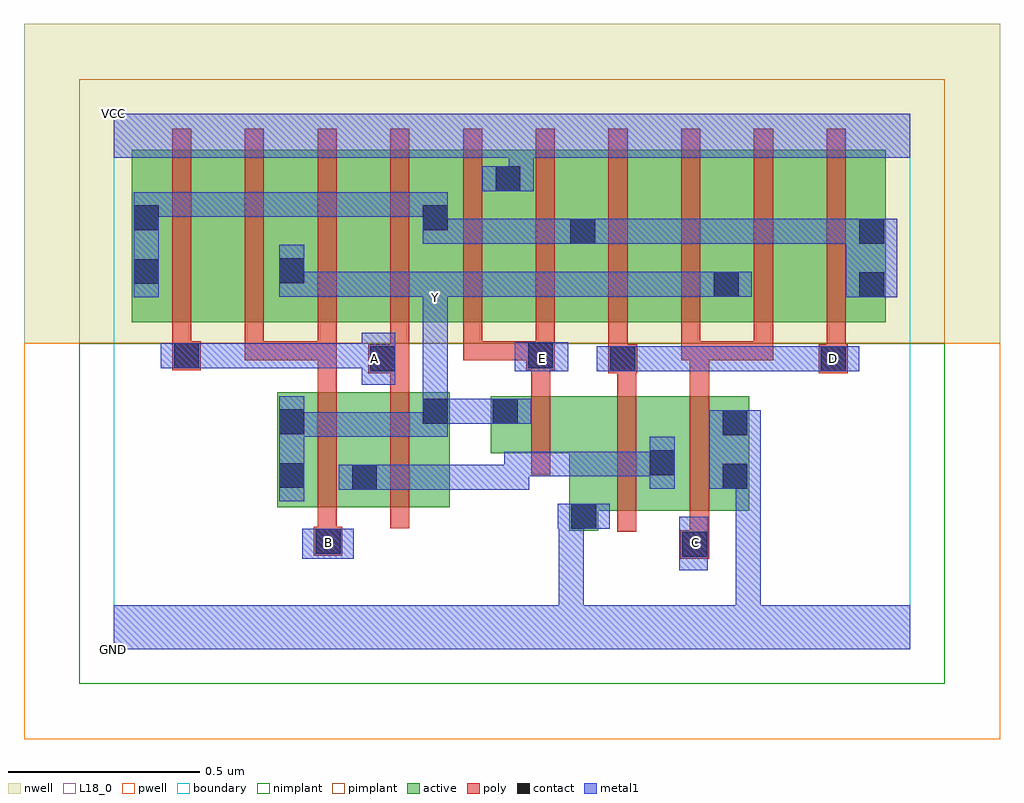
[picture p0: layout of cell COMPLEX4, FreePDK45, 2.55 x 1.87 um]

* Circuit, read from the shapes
.subckt COMPLEX4 A B C D E GND VCC Y
M1 n1 B Y VSUBS nfet w=0.3u l=0.05u
M2 Y A n1 VSUBS nfet w=0.3u l=0.05u
M3 GND E Y VSUBS nfet w=0.15u l=0.05u
M4 n1 D GND VSUBS nfet w=0.3u l=0.05u
M5 GND C n1 VSUBS nfet w=0.3u l=0.05u
M6 n2 A n3 n4 pfet w=0.45u l=0.05u
M7 Y B n2 n4 pfet w=0.45u l=0.05u
M8 n5 B Y n4 pfet w=0.45u l=0.05u
M9 n3 A n5 n4 pfet w=0.45u l=0.05u
M10 VCC E n3 n4 pfet w=0.45u l=0.05u m=2
M11 n6 D n3 n4 pfet w=0.45u l=0.05u
M12 Y C n6 n4 pfet w=0.45u l=0.05u
M13 n7 C Y n4 pfet w=0.45u l=0.05u
M14 n3 D n7 n4 pfet w=0.45u l=0.05u
.ends

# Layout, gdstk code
import gdstk
lib = gdstk.Library(unit=1e-6, precision=1e-09)
def R(c, l, rs):  # rectangles x0, y0, x1, y1
    for r in rs: c.add(gdstk.rectangle(r[:2], r[2:], *l))
def A(c, l, x, y, w, h, nx, ny, dx, dy):  # array of equal rectangles
    R(c, l, [(x+i*dx, y+j*dy, x+i*dx+w, y+j*dy+h) for i in range(nx) for j in range(ny)])
active = (1, 0)
pwell = (2, 0)
nwell = (3, 0)
nimplant = (4, 0)
pimplant = (5, 0)
poly = (9, 0)
contact = (10, 0)
metal1 = (11, 0)
L18_0 = (18, 0)
boundary = (235, 0)

complex4 = lib.new_cell('COMPLEX4')
R(complex4, active, [(1.19,0.31,1.265,0.547), (1.19,0.362,1.47,0.662), (1.395,0.362,1.66,0.662), (0.427,0.372,0.692,0.672), (0.617,0.372,0.877,0.672), (0.802,0.382,0.877,0.672), (0.427,0.407,0.502,0.672), (0.617,0.407,0.692,0.547), (1.395,0.407,1.47,0.525), (1.585,0.407,1.66,0.662), (0.985,0.512,1.265,0.662), (0.985,0.532,1.06,0.662), (0.047,0.855,0.272,1.305), (0.047,0.855,0.152,1.2), (0.272,0.855,0.502,1.305), (0.427,0.855,0.652,1.305), (0.427,0.855,0.502,1.07), (0.652,0.855,0.877,1.305), (0.802,0.855,1.067,1.305), (0.992,0.855,1.262,1.305), (1.187,0.855,1.412,1.305), (1.412,0.855,1.637,1.305), (1.562,0.855,1.792,1.305), (1.562,0.855,1.637,1.07), (1.792,0.855,2.017,1.305), (1.942,0.855,2.017,1.2), (0.802,0.857,0.877,1.2), (0.992,0.857,1.067,1.305), (1.187,0.857,1.262,1.2)])
R(complex4, pwell, [(-0.235,-0.235,2.315,0.8)])
R(complex4, nwell, [(-0.235,0.8,2.315,1.635)])
R(complex4, nimplant, [(-0.09,-0.09,2.17,0.8)])
R(complex4, pimplant, [(-0.09,0.8,2.17,1.49)])
A(complex4, poly, 0.722, 0.747, 0.05, 0.103, 3, 1, 0.57, 0)
A(complex4, poly, 0.152, 0.755, 0.05, 0.095, 3, 1, 0.19, 0)
A(complex4, poly, 0.152, 0.8, 0.05, 0.56, 10, 1, 0.19, 0)
R(complex4, poly, [(1.48,0.237,1.555,0.312), (0.522,0.245,0.597,0.32), (1.505,0.262,1.555,0.357), (0.532,0.27,0.582,0.367), (1.315,0.307,1.365,0.717), (1.505,0.307,1.555,0.717), (0.532,0.317,0.582,0.727), (0.722,0.317,0.772,0.727), (1.09,0.457,1.14,0.717), (1.09,0.667,1.14,0.78), (1.315,0.667,1.365,0.772), (1.505,0.667,1.555,0.805), (0.532,0.677,0.582,0.805), (0.722,0.677,0.772,0.772), (0.665,0.722,0.772,0.797), (1.292,0.722,1.367,0.797), (1.842,0.722,1.917,0.797), (0.152,0.73,0.227,0.805), (1.077,0.73,1.152,0.805), (0.342,0.755,0.392,0.805), (0.342,0.755,0.392,0.805), (0.342,0.755,0.392,0.805), (0.342,0.755,0.582,0.805), (0.532,0.755,0.582,0.805), (0.912,0.755,0.962,0.85), (0.912,0.755,0.962,0.805), (0.912,0.755,1.127,0.805), (1.077,0.755,1.127,0.805), (1.077,0.755,1.127,0.805), (1.102,0.755,1.152,0.85), (1.482,0.755,1.532,0.85), (1.482,0.755,1.555,0.805), (1.505,0.755,1.722,0.805), (1.505,0.755,1.555,0.805), (1.505,0.755,1.555,0.805), (1.672,0.755,1.722,0.85), (1.672,0.755,1.722,0.805)])
R(complex4, contact, [(1.485,0.242,1.55,0.307), (0.527,0.25,0.592,0.315), (1.195,0.315,1.26,0.38), (0.622,0.417,0.687,0.482), (1.59,0.42,1.655,0.485), (0.432,0.422,0.497,0.487), (1.4,0.455,1.465,0.52), (1.59,0.56,1.655,0.625), (0.432,0.562,0.497,0.627), (0.807,0.59,0.872,0.655), (0.99,0.59,1.055,0.655), (0.67,0.727,0.735,0.792), (1.297,0.727,1.362,0.792), (1.847,0.727,1.912,0.792), (0.157,0.735,0.222,0.8), (1.082,0.735,1.147,0.8), (1.947,0.92,2.012,0.985), (1.567,0.922,1.632,0.987), (0.052,0.955,0.117,1.02), (0.432,0.957,0.497,1.022), (1.192,1.06,1.257,1.125), (1.947,1.06,2.012,1.125), (0.052,1.095,0.117,1.16), (0.807,1.095,0.872,1.16), (0.997,1.197,1.062,1.262)])
R(complex4, metal1, [(0,0,2.08,0.115), (1.162,0.05,1.227,0.115), (1.162,0.05,1.227,0.115), (1.162,0.05,1.227,0.115), (1.162,0.05,1.227,0.115), (1.162,0.05,1.227,0.38), (1.625,0.05,1.69,0.115), (1.625,0.05,1.69,0.115), (1.625,0.05,1.69,0.485), (1.477,0.207,1.552,0.347), (0.492,0.237,0.627,0.315), (1.16,0.315,1.295,0.38), (1.162,0.315,1.227,0.38), (1.162,0.315,1.227,0.38), (0.432,0.387,0.497,0.662), (0.587,0.417,0.722,0.482), (0.657,0.417,0.722,0.482), (0.657,0.417,0.722,0.482), (0.657,0.417,0.882,0.482), (0.817,0.417,0.882,0.482), (0.817,0.417,0.882,0.482), (0.817,0.417,0.882,0.482), (0.817,0.417,1.085,0.482), (1.02,0.417,1.085,0.517), (1.4,0.42,1.465,0.555), (1.555,0.42,1.69,0.625), (1.625,0.42,1.69,0.485), (1.625,0.42,1.69,0.485), (1.625,0.42,1.69,0.485), (1.625,0.42,1.69,0.485), (1.02,0.452,1.085,0.517), (1.02,0.452,1.085,0.517), (1.02,0.452,1.227,0.517), (1.162,0.452,1.227,0.517), (1.162,0.452,1.227,0.517), (1.162,0.452,1.227,0.517), (1.162,0.452,1.227,0.517), (1.162,0.452,1.227,0.517), (1.162,0.452,1.465,0.517), (0.432,0.555,0.532,0.62), (0.467,0.555,0.532,0.62), (0.467,0.555,0.735,0.62), (0.67,0.555,0.735,0.62), (0.67,0.555,0.735,0.62), (0.67,0.555,0.735,0.62), (0.67,0.555,0.872,0.62), (0.807,0.555,0.872,0.69), (0.807,0.59,0.872,0.655), (0.807,0.59,0.872,0.655), (0.807,0.59,1.02,0.655), (0.955,0.59,1.09,0.655), (0.807,0.625,0.872,0.917), (0.647,0.692,0.735,0.827), (1.047,0.727,1.187,0.802), (1.262,0.727,1.397,0.792), (1.332,0.727,1.43,0.792), (1.365,0.727,1.43,0.792), (1.365,0.727,1.597,0.792), (1.532,0.727,1.597,0.792), (1.532,0.727,1.597,0.792), (1.532,0.727,1.597,0.792), (1.532,0.727,1.74,0.792), (1.675,0.727,1.74,0.792), (1.675,0.727,1.74,0.792), (1.675,0.727,1.74,0.792), (1.675,0.727,1.877,0.792), (1.812,0.727,1.947,0.792), (0.122,0.735,0.257,0.8), (0.192,0.735,0.257,0.8), (0.192,0.735,0.257,0.8), (0.192,0.735,0.395,0.8), (0.33,0.735,0.395,0.8), (0.33,0.735,0.395,0.8), (0.33,0.735,0.395,0.8), (0.33,0.735,0.532,0.8), (0.467,0.735,0.532,0.8), (0.467,0.735,0.712,0.8), (0.647,0.735,0.712,0.8), (0.647,0.735,0.712,0.8), (0.807,0.852,0.872,0.987), (0.052,0.92,0.117,1.195), (1.912,0.92,2.047,1.125), (0.432,0.922,0.497,1.057), (0.432,0.922,0.532,0.987), (0.467,0.922,0.532,0.987), (0.467,0.922,0.712,0.987), (0.647,0.922,0.712,0.987), (0.647,0.922,0.712,0.987), (0.647,0.922,0.712,0.987), (0.647,0.922,0.872,0.987), (0.807,0.922,0.872,0.987), (0.807,0.922,0.872,0.987), (0.807,0.922,0.872,0.987), (0.807,0.922,0.872,0.987), (0.807,0.922,1.085,0.987), (1.02,0.922,1.085,0.987), (1.02,0.922,1.085,0.987), (1.02,0.922,1.085,0.987), (1.02,0.922,1.292,0.987), (1.227,0.922,1.292,0.987), (1.227,0.922,1.292,0.987), (1.227,0.922,1.292,0.987), (1.227,0.922,1.43,0.987), (1.365,0.922,1.43,0.987), (1.365,0.922,1.597,0.987), (1.532,0.922,1.597,0.987), (1.532,0.922,1.597,0.987), (1.532,0.922,1.667,0.987), (0.807,1.06,0.872,1.125), (0.807,1.06,0.872,1.125), (0.807,1.06,0.872,1.195), (0.807,1.06,1.085,1.125), (1.02,1.06,1.085,1.125), (1.02,1.06,1.085,1.125), (1.02,1.06,1.085,1.125), (1.02,1.06,1.222,1.125), (1.157,1.06,1.292,1.125), (1.227,1.06,1.292,1.125), (1.227,1.06,1.292,1.125), (1.227,1.06,1.46,1.125), (1.395,1.06,1.46,1.125), (1.395,1.06,1.597,1.125), (1.532,1.06,1.597,1.125), (1.532,1.06,1.597,1.125), (1.532,1.06,1.597,1.125), (1.532,1.06,1.735,1.125), (1.67,1.06,1.735,1.125), (1.67,1.06,1.805,1.125), (1.74,1.06,1.805,1.125), (1.74,1.06,1.805,1.125), (1.74,1.06,1.805,1.125), (1.74,1.06,1.977,1.125), (1.912,1.06,1.977,1.125), (1.912,1.06,1.977,1.125), (0.052,1.13,0.117,1.195), (0.052,1.13,0.117,1.195), (0.052,1.13,0.257,1.195), (0.192,1.13,0.257,1.195), (0.192,1.13,0.257,1.195), (0.192,1.13,0.257,1.195), (0.192,1.13,0.395,1.195), (0.33,1.13,0.395,1.195), (0.33,1.13,0.395,1.195), (0.33,1.13,0.395,1.195), (0.33,1.13,0.575,1.195), (0.51,1.13,0.575,1.195), (0.51,1.13,0.712,1.195), (0.647,1.13,0.712,1.195), (0.647,1.13,0.712,1.195), (0.647,1.13,0.712,1.195), (0.647,1.13,0.872,1.195), (0.962,1.197,1.097,1.262), (1.032,1.197,1.097,1.35), (0,1.285,2.08,1.4)])
R(complex4, L18_0, [(0,0,2.08,0.115), (1.162,0.05,1.227,0.115), (1.162,0.05,1.227,0.115), (1.162,0.05,1.227,0.115), (1.162,0.05,1.227,0.115), (1.162,0.05,1.227,0.38), (1.625,0.05,1.69,0.115), (1.625,0.05,1.69,0.115), (1.625,0.05,1.69,0.485), (1.477,0.207,1.552,0.347), (0.492,0.237,0.627,0.315), (0.527,0.247,0.592,0.312), (1.487,0.247,1.552,0.312), (1.16,0.315,1.295,0.38), (1.162,0.315,1.227,0.38), (1.162,0.315,1.227,0.38), (0.432,0.387,0.497,0.662), (1.555,0.42,1.69,0.625), (1.625,0.42,1.69,0.485), (1.625,0.42,1.69,0.485), (1.625,0.42,1.69,0.485), (1.625,0.42,1.69,0.485), (0.432,0.555,0.532,0.62), (0.467,0.555,0.532,0.62), (0.467,0.555,0.735,0.62), (0.67,0.555,0.735,0.62), (0.67,0.555,0.735,0.62), (0.67,0.555,0.735,0.62), (0.67,0.555,0.872,0.62), (0.807,0.555,0.872,0.69), (0.807,0.59,0.872,0.655), (0.807,0.59,0.872,0.655), (0.807,0.59,1.02,0.655), (0.955,0.59,1.09,0.655), (0.807,0.625,0.872,0.917), (0.647,0.692,0.735,0.827), (0.647,0.727,0.712,0.792), (1.047,0.727,1.187,0.802), (1.087,0.727,1.152,0.792), (1.262,0.727,1.397,0.792), (1.332,0.727,1.43,0.792), (1.365,0.727,1.43,0.792), (1.365,0.727,1.597,0.792), (1.532,0.727,1.597,0.792), (1.532,0.727,1.597,0.792), (1.532,0.727,1.597,0.792), (1.532,0.727,1.74,0.792), (1.675,0.727,1.74,0.792), (1.675,0.727,1.74,0.792), (1.675,0.727,1.74,0.792), (1.675,0.727,1.877,0.792), (1.812,0.727,1.947,0.792), (1.847,0.727,1.912,0.792), (0.122,0.735,0.257,0.8), (0.192,0.735,0.257,0.8), (0.192,0.735,0.257,0.8), (0.192,0.735,0.395,0.8), (0.33,0.735,0.395,0.8), (0.33,0.735,0.395,0.8), (0.33,0.735,0.395,0.8), (0.33,0.735,0.532,0.8), (0.467,0.735,0.532,0.8), (0.467,0.735,0.712,0.8), (0.647,0.735,0.712,0.8), (0.647,0.735,0.712,0.8), (0.807,0.852,0.872,0.987), (0.807,0.887,0.872,0.952), (0.432,0.922,0.497,1.057), (0.432,0.922,0.532,0.987), (0.467,0.922,0.532,0.987), (0.467,0.922,0.712,0.987), (0.647,0.922,0.712,0.987), (0.647,0.922,0.712,0.987), (0.647,0.922,0.712,0.987), (0.647,0.922,0.872,0.987), (0.807,0.922,0.872,0.987), (0.807,0.922,0.872,0.987), (0.807,0.922,0.872,0.987), (0.807,0.922,0.872,0.987), (0.807,0.922,1.085,0.987), (1.02,0.922,1.085,0.987), (1.02,0.922,1.085,0.987), (1.02,0.922,1.085,0.987), (1.02,0.922,1.292,0.987), (1.227,0.922,1.292,0.987), (1.227,0.922,1.292,0.987), (1.227,0.922,1.292,0.987), (1.227,0.922,1.43,0.987), (1.365,0.922,1.43,0.987), (1.365,0.922,1.597,0.987), (1.532,0.922,1.667,0.987), (1.532,0.922,1.597,0.987), (1.532,0.922,1.597,0.987), (0.962,1.197,1.097,1.262), (1.032,1.197,1.097,1.35), (0,1.285,2.08,1.4)])
R(complex4, boundary, [(0,0,2.08,1.4)])
complex4.add(gdstk.Label('A', (0.68,0.76), layer=11, texttype=0))
complex4.add(gdstk.Label('B', (0.56,0.28), layer=11, texttype=0))
complex4.add(gdstk.Label('C', (1.52,0.28), layer=11, texttype=0))
complex4.add(gdstk.Label('D', (1.88,0.76), layer=11, texttype=0))
complex4.add(gdstk.Label('E', (1.12,0.76), layer=11, texttype=0))
complex4.add(gdstk.Label('Y', (0.84,0.92), layer=11, texttype=0))
complex4.add(gdstk.Label('VCC', (0,1.4), layer=11, texttype=0))
complex4.add(gdstk.Label('GND', (0,0), layer=11, texttype=0))

lib.write_gds('COMPLEX4.gds')
